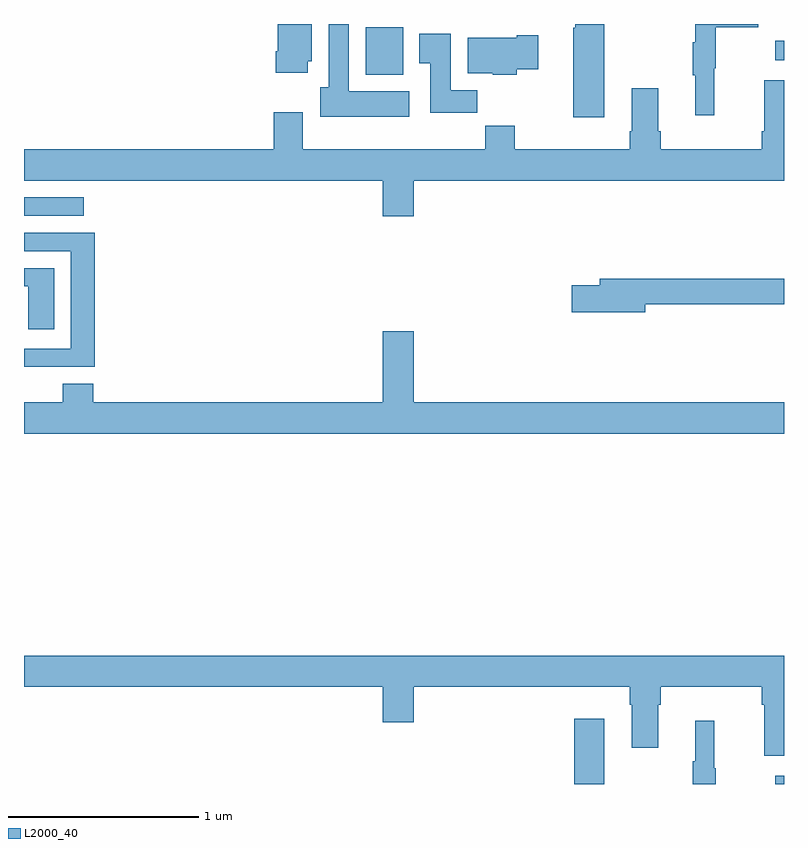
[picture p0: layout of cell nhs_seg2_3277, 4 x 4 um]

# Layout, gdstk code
import gdstk
lib = gdstk.Library(unit=1e-6, precision=1e-09)
def R(c, l, rs):  # rectangles x0, y0, x1, y1
    for r in rs: c.add(gdstk.rectangle(r[:2], r[2:], *l))
def P(c, l, *ps):  # polygons
    for p in ps: c.add(gdstk.Polygon(p, *l))
L2000_40 = (2000, 40)

nhs_seg2_3277 = lib.new_cell('nhs_seg2_3277')
R(nhs_seg2_3277, L2000_40, [(285.896,637.8,286.054,638.143), (286.953,637.8,287,637.843), (283,640.791,283.315,640.887), (284.799,641.534,284.995,641.784), (286.953,641.609,287,641.713)])
P(nhs_seg2_3277, L2000_40, [(286.054,641.8),(285.901,641.8),(285.901,641.781),(285.89,641.781),(285.89,641.31),(286.054,641.31)],
  [(284.494,641.604),(284.515,641.604),(284.515,641.8),(284.336,641.8),(284.336,641.656),(284.324,641.656),(284.324,641.544),(284.494,641.544)],
  [(286.634,641.568),(286.642,641.568),(286.642,641.782),(286.865,641.782),(286.865,641.8),(286.532,641.8),(286.532,641.705),(286.521,641.705),(286.521,641.531),(286.532,641.531),(286.532,641.319),(286.634,641.319)],
  [(285.028,641.446),(284.71,641.446),(284.71,641.8),(284.603,641.8),(284.603,641.466),(284.558,641.466),(284.558,641.312),(285.028,641.312)],
  [(285.386,641.452),(285.247,641.452),(285.247,641.749),(285.08,641.749),(285.08,641.593),(285.137,641.593),(285.137,641.334),(285.386,641.334)],
  [(285.594,641.563),(285.706,641.563),(285.706,641.741),(285.593,641.741),(285.593,641.728),(285.335,641.728),(285.335,641.54),(285.468,641.54),(285.468,641.534),(285.594,641.534)],
  [(285.052,640.976),(287,640.976),(287,641.503),(286.895,641.503),(286.895,641.236),(286.883,641.236),(286.883,641.14),(286.352,641.14),(286.352,641.236),(286.339,641.236),(286.339,641.461),(286.199,641.461),(286.199,641.236),(286.187,641.236),(286.187,641.14),(285.584,641.14),(285.584,641.264),(285.427,641.264),(285.427,641.14),(284.467,641.14),(284.467,641.335),(284.315,641.335),(284.315,641.14),(283,641.14),(283,640.976),(284.888,640.976),(284.888,640.788),(285.052,640.788)],
  [(283.373,640.701),(283,640.701),(283,640.605),(283.247,640.605),(283.247,640.092),(283,640.092),(283,639.995),(283.373,639.995)],
  [(283.159,640.515),(283,640.515),(283,640.419),(283.022,640.419),(283.022,640.194),(283.159,640.194)],
  [(286.27,640.324),(287,640.324),(287,640.46),(286.031,640.46),(286.031,640.424),(285.882,640.424),(285.882,640.282),(286.27,640.282)],
  [(287,639.808),(285.052,639.808),(285.052,640.183),(284.888,640.183),(284.888,639.808),(283.364,639.808),(283.364,639.907),(283.204,639.907),(283.204,639.808),(283,639.808),(283,639.644),(287,639.644)],
  [(287,638.476),(283,638.476),(283,638.312),(284.888,638.312),(284.888,638.124),(285.052,638.124),(285.052,638.312),(286.187,638.312),(286.187,638.216),(286.199,638.216),(286.199,637.992),(286.339,637.992),(286.339,638.216),(286.352,638.216),(286.352,638.312),(286.883,638.312),(286.883,638.216),(286.895,638.216),(286.895,637.95),(287,637.95)],
  [(286.642,637.884),(286.634,637.884),(286.634,638.134),(286.532,638.134),(286.532,637.921),(286.521,637.921),(286.521,637.8),(286.642,637.8)])

lib.write_gds('nhs_seg2_3277.gds')
